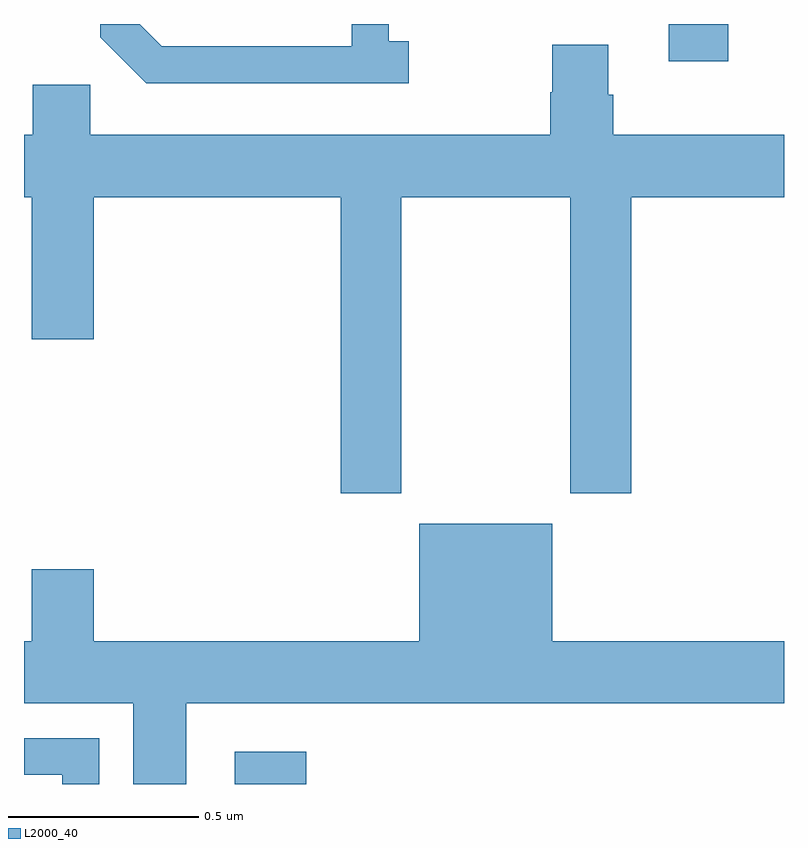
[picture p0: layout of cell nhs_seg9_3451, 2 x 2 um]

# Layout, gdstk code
import gdstk
lib = gdstk.Library(unit=1e-6, precision=1e-09)
def R(c, l, rs):  # rectangles x0, y0, x1, y1
    for r in rs: c.add(gdstk.rectangle(r[:2], r[2:], *l))
def P(c, l, *ps):  # polygons
    for p in ps: c.add(gdstk.Polygon(p, *l))
L2000_40 = (2000, 40)

nhs_seg9_3451 = lib.new_cell('nhs_seg9_3451')
R(nhs_seg9_3451, L2000_40, [(153.555,1237.5,153.743,1237.585), (154.697,1239.402,154.853,1239.5)])
P(nhs_seg9_3451, L2000_40, [(154.012,1239.454),(153.96,1239.454),(153.96,1239.5),(153.863,1239.5),(153.863,1239.441),(153.363,1239.441),(153.304,1239.5),(153.201,1239.5),(153.201,1239.465),(153.322,1239.344),(154.012,1239.344)],
  [(153.993,1239.044),(154.438,1239.044),(154.438,1238.265),(154.598,1238.265),(154.598,1239.044),(155,1239.044),(155,1239.208),(154.55,1239.208),(154.55,1239.314),(154.537,1239.314),(154.537,1239.446),(154.39,1239.446),(154.39,1239.321),(154.385,1239.321),(154.385,1239.208),(153.174,1239.208),(153.174,1239.34),(153.023,1239.34),(153.023,1239.208),(153,1239.208),(153,1239.044),(153.02,1239.044),(153.02,1238.67),(153.184,1238.67),(153.184,1239.044),(153.833,1239.044),(153.833,1238.265),(153.993,1238.265)],
  [(153.427,1237.712),(155,1237.712),(155,1237.876),(154.39,1237.876),(154.39,1238.185),(154.04,1238.185),(154.04,1237.876),(153.184,1237.876),(153.184,1238.065),(153.02,1238.065),(153.02,1237.876),(153,1237.876),(153,1237.712),(153.287,1237.712),(153.287,1237.5),(153.427,1237.5)],
  [(153.198,1237.62),(153,1237.62),(153,1237.524),(153.101,1237.524),(153.101,1237.5),(153.198,1237.5)])

lib.write_gds('nhs_seg9_3451.gds')
